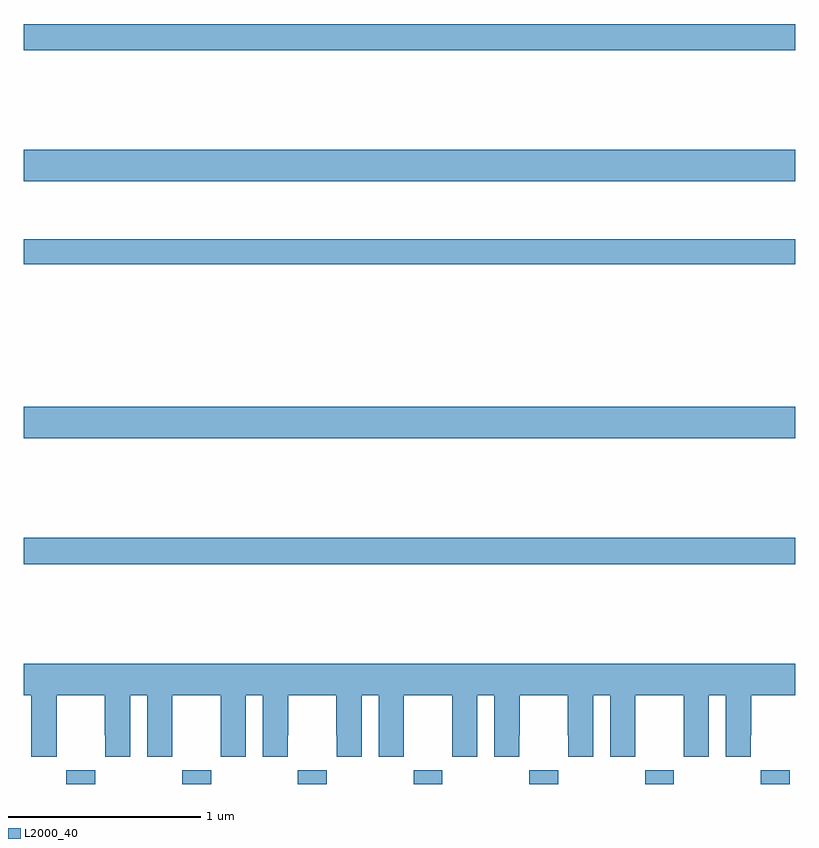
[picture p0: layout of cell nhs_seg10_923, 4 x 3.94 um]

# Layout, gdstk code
import gdstk
lib = gdstk.Library(unit=1e-6, precision=1e-09)
def R(c, l, rs):  # rectangles x0, y0, x1, y1
    for r in rs: c.add(gdstk.rectangle(r[:2], r[2:], *l))
def A(c, l, x, y, w, h, nx, ny, dx, dy):  # array of equal rectangles
    R(c, l, [(x+i*dx, y+j*dy, x+i*dx+w, y+j*dy+h) for i in range(nx) for j in range(ny)])
def P(c, l, *ps):  # polygons
    for p in ps: c.add(gdstk.Polygon(p, *l))
L2000_40 = (2000, 40)

nhs_seg10_923 = lib.new_cell('nhs_seg10_923')
A(nhs_seg10_923, L2000_40, 157.221, 1322.5, 0.15, 0.072, 7, 1, 0.6, 0)
R(nhs_seg10_923, L2000_40, [(157,1323.64,161,1323.776), (157,1324.292,161,1324.456), (157,1325.194,161,1325.323), (157,1325.624,161,1325.788), (157,1326.304,161,1326.44)])
P(nhs_seg10_923, L2000_40, [(157.17,1322.752),(157.171,1322.752),(157.171,1322.96),(157.421,1322.96),(157.421,1322.752),(157.422,1322.752),(157.422,1322.64),(157.552,1322.64),(157.552,1322.96),(157.64,1322.96),(157.64,1322.64),(157.77,1322.64),(157.77,1322.752),(157.771,1322.752),(157.771,1322.96),(158.021,1322.96),(158.021,1322.752),(158.022,1322.752),(158.022,1322.64),(158.152,1322.64),(158.152,1322.96),(158.24,1322.96),(158.24,1322.64),(158.37,1322.64),(158.37,1322.752),(158.371,1322.752),(158.371,1322.96),(158.621,1322.96),(158.621,1322.752),(158.622,1322.752),(158.622,1322.64),(158.752,1322.64),(158.752,1322.96),(158.84,1322.96),(158.84,1322.64),(158.97,1322.64),(158.97,1322.752),(158.971,1322.752),(158.971,1322.96),(159.221,1322.96),(159.221,1322.752),(159.222,1322.752),(159.222,1322.64),(159.352,1322.64),(159.352,1322.96),(159.44,1322.96),(159.44,1322.64),(159.57,1322.64),(159.57,1322.752),(159.571,1322.752),(159.571,1322.96),(159.821,1322.96),(159.821,1322.752),(159.822,1322.752),(159.822,1322.64),(159.952,1322.64),(159.952,1322.96),(160.04,1322.96),(160.04,1322.64),(160.17,1322.64),(160.17,1322.752),(160.171,1322.752),(160.171,1322.96),(160.421,1322.96),(160.421,1322.752),(160.422,1322.752),(160.422,1322.64),(160.552,1322.64),(160.552,1322.96),(160.64,1322.96),(160.64,1322.64),(160.77,1322.64),(160.77,1322.752),(160.771,1322.752),(160.771,1322.96),(161,1322.96),(161,1323.124),(157,1323.124),(157,1322.96),(157.04,1322.96),(157.04,1322.64),(157.17,1322.64)])

lib.write_gds('nhs_seg10_923.gds')
